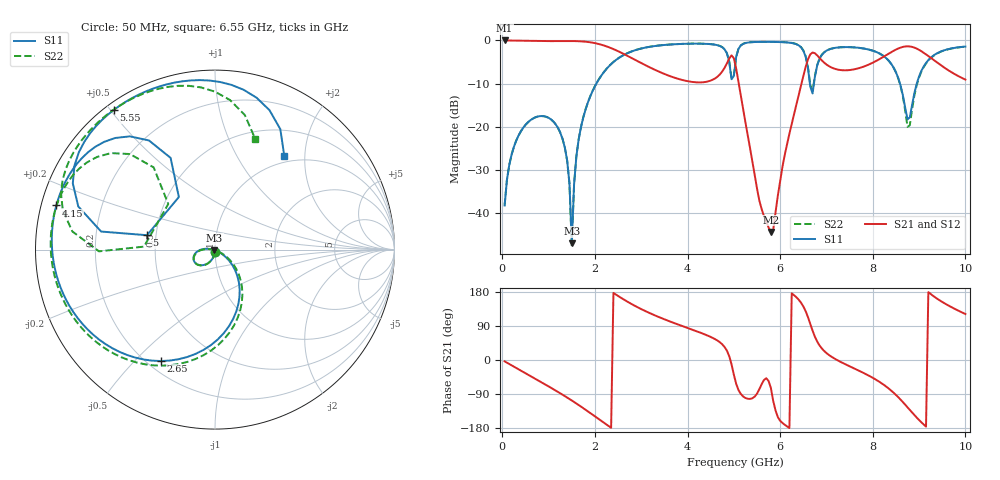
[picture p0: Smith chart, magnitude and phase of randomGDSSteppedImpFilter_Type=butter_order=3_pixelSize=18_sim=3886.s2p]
! freq	dB(S11)	phase(S11)	dB(S12)	phase(S12)
!  dB(S21)	phase(S21)	dB(S22)	phase(S22)
!S-par simulation data
#  GHz  S  DB  R 50
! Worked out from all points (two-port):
!   200 points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, 50 MHz to 10 GHz, reference 50 ohm
!   highest |S21| = -0.01 dB at 50 MHz (marker M1); lowest = -44.4 dB at 5.8 GHz (marker M2)
!   |S21| within 3 dB of the highest: start of sweep to 2.6 GHz; 8.352 GHz to 9.12 GHz (767.4 MHz wide, 8.78 % of centre) (the widest 2 of 3)
!   lowest |S11| = -47.0 dB at 1.5 GHz (marker M3), VSWR 1.01, Z = 49.7 - j0.346 ohm
!   |S11| at or under -10 dB: start of sweep to 2.031 GHz; 6.642 GHz to 6.73 GHz (87.58 MHz wide, 1.31 % of centre); 8.587 GHz to 8.949 GHz (362.1 MHz wide, 4.13 % of centre)
!   |S22| runs from -47.6 to -0.3 dB; largest |S21 - S12| = 0
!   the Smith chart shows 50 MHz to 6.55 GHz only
!   S11 on the Smith chart (normalised r, x): 50 MHz: 1.00, -0.02; 2.65 GHz: 0.25, -0.60; 4.15 GHz: 0.04, +0.14; 5 GHz: 0.45, +0.08; 5.55 GHz: 0.03, +0.51; 6.55 GHz: 0.88, +1.61
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0.05  -38.23 -93.2  -0.01 -3.6  -0.01 -3.6  -38.23 -93.1
0.35  -22.04 -114.9  -0.06 -24.5  -0.06 -24.5  -22.05 -114.4
1  -17.93 -160.5  -0.16 -69.7  -0.16 -69.7  -17.93 -158.9
1.35  -24.76 175.7  -0.14 -95.2  -0.14 -95.2  -24.79 177.8
1.5  -47.01 -128.8  -0.14 -106.8  -0.14 -106.8  -47.65 -125.9
1.6  -26.80 -32.1  -0.16 -114.8  -0.16 -114.8  -26.77 -28.9
1.75  -17.78 -41.6  -0.25 -127.2  -0.25 -127.2  -17.76 -38.4
2.65  -3.22 -115.9  -3.28 157.6  -3.28 157.6  -3.21 -111.2
3.4  -1.16 -161.3  -7.31 112.3  -7.31 112.3  -1.15 -155.0
4.15  -0.75 164.4  -9.67 77.9  -9.67 77.9  -0.74 172.6
4.8  -2.05 126.9  -6.35 34.3  -6.35 34.3  -2.04 137.2
5  -8.24 168.1  -4.11 -38.6  -4.11 -38.6  -8.05 177.6
5.05  -3.84 171.0  -6.49 -62.8  -6.49 -62.8  -3.79 -179.1
5.55  -0.34 125.9  -37.06 -77.0  -37.06 -77.0  -0.34 137.9
5.8  -0.34 113.6  -44.36 -73.9  -44.36 -73.9  -0.33 126.5
6.55  -3.73 53.7  -6.19 129.0  -6.19 129.0  -3.64 70.1
6.7  -12.28 96.2  -2.80 77.4  -2.80 77.4  -11.71 109.9
7.25  -1.63 79.4  -6.77 -1.5  -6.77 -1.5  -1.63 96.5
8.35  -4.77 10.9  -3.02 -75.8  -3.02 -75.8  -4.77 30.5
8.75  -18.28 26.1  -1.36 -124.8  -1.36 -124.8  -20.02 42.1
9.15  -5.22 70.7  -3.23 -175.8  -3.23 -175.8  -5.34 96.3
10  -1.43 15.7  -9.07 121.3  -9.07 121.3  -1.43 40.9
